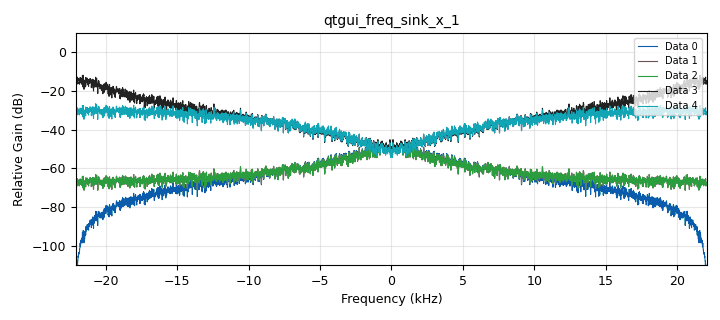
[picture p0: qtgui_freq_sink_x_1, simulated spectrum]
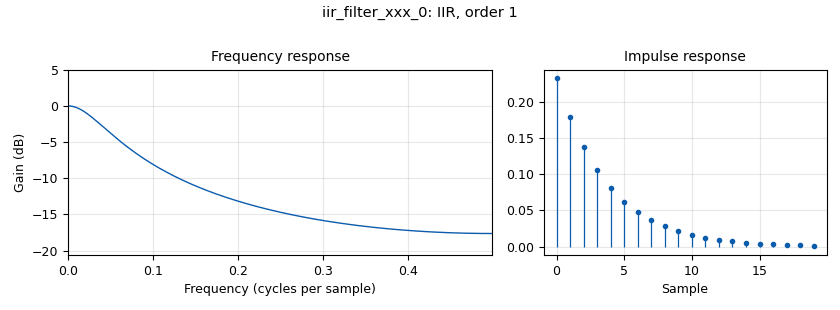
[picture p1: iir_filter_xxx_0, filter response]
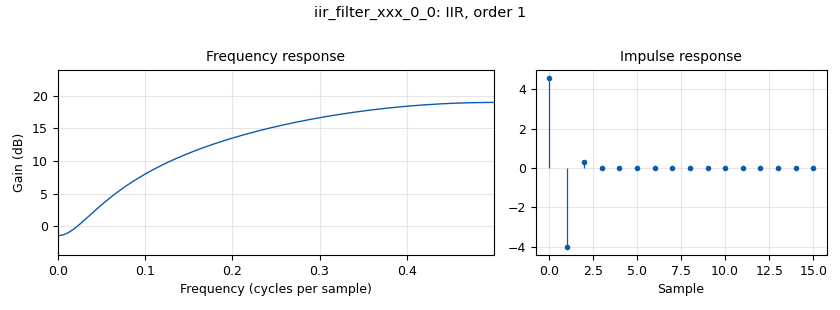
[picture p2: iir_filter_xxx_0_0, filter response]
options:
  parameters:
    author: WAC
    generate_options: qt_gui
    id: FM_emphasis_filters
    output_language: python
    title: FM_emphasis_filters
  states: {}

blocks:
- name: alpha
  id: variable
  parameters:
    value: 1/(1+samp_rate*tau)
  states: {}
- name: samp_rate
  id: variable
  parameters:
    value: '44100'
  states: {}
- name: analog_fastnoise_source_x_0
  id: analog_fastnoise_source_x
  parameters:
    amp: '1'
    noise_type: analog.GR_UNIFORM
    samples: '8192'
    seed: '0'
    type: float
  states: {}
- name: analog_fm_deemph_0
  id: analog_fm_deemph
  parameters:
    samp_rate: samp_rate
    tau: tau
  states: {}
- name: analog_fm_preemph_0
  id: analog_fm_preemph
  parameters:
    fh: '-1.0'
    samp_rate: samp_rate
    tau: tau
  states: {}
- name: iir_filter_xxx_0
  id: iir_filter_xxx
  parameters:
    fbtaps: '[1,1-alpha]'
    fftaps: '[alpha]'
    type: ffd
  states: {}
- name: iir_filter_xxx_0_0
  id: iir_filter_xxx
  parameters:
    fbtaps: '[1, -0.07914]'
    fftaps: '[4.556, -3.638]'
    type: ffd
  states: {}
- name: qtgui_freq_sink_x_1
  id: qtgui_freq_sink_x
  parameters:
    average: '0.1'
    bw: samp_rate
    color4: '"yellow"'
    color5: '"dark red"'
    ctrlpanel: 'True'
    fc: '0'
    fftsize: '4096'
    grid: 'True'
    label2: ''
    label3: ''
    label4: ''
    label5: ''
    nconnections: '5'
    showports: 'True'
    type: float
    wintype: firdes.WIN_BLACKMAN_hARRIS
    ymin: '-110'
  states: {}
- name: single_pole_iir_filter_xx_0
  id: single_pole_iir_filter_xx
  parameters:
    alpha: alpha
    comment: |-
      El estándar indica un τ de 75us, lo cual, para
      sistemas contínuos, indica una frecuencia de corte
      de: fc = 1/(2*π*τ)

      H(s) = wc/(1+wc*s) = (1/τ)/(1+(1/τ)s)

      Al discretizar el sistema, el sistema toma la
      siguiente forma:

       H(z) = α/(1 - (1-α)z^-1)

      Las muestras temporales tienen la siguiente forma:
      y[n]=αx[n]+(1−α)y[n−1], 0<α<1

      El factor de decaimiento α en el dominio de Z
      está relacionado con la constante de tiempo
      τ en el dominio de Laplace por la siguiente
      relación:
      alpha = 1/(1+(fs*τ))

      https://dsp.stackexchange.com/questions/54086/single-pole-iir-low-pass-filter-which-is-the-correct-formula-for-the-decay-coe
    type: float
  states: {}
- name: tau
  id: parameter
  parameters:
    type: eng_float
    value: '75e-6'
  states: {}
- name: virtual_sink_0
  id: virtual_sink
  parameters:
    stream_id: random
  states: {}
- name: virtual_source_0
  id: virtual_source
  parameters:
    stream_id: random
  states: {}

connections:
- [analog_fastnoise_source_x_0, '0', analog_fm_deemph_0, '0']
- [analog_fastnoise_source_x_0, '0', iir_filter_xxx_0, '0']
- [analog_fastnoise_source_x_0, '0', single_pole_iir_filter_xx_0, '0']
- [analog_fastnoise_source_x_0, '0', virtual_sink_0, '0']
- [analog_fm_deemph_0, '0', qtgui_freq_sink_x_1, '0']
- [analog_fm_preemph_0, '0', qtgui_freq_sink_x_1, '3']
- [iir_filter_xxx_0, '0', qtgui_freq_sink_x_1, '1']
- [iir_filter_xxx_0_0, '0', qtgui_freq_sink_x_1, '4']
- [single_pole_iir_filter_xx_0, '0', qtgui_freq_sink_x_1, '2']
- [virtual_source_0, '0', analog_fm_preemph_0, '0']
- [virtual_source_0, '0', iir_filter_xxx_0_0, '0']

metadata:
  file_format: 1
